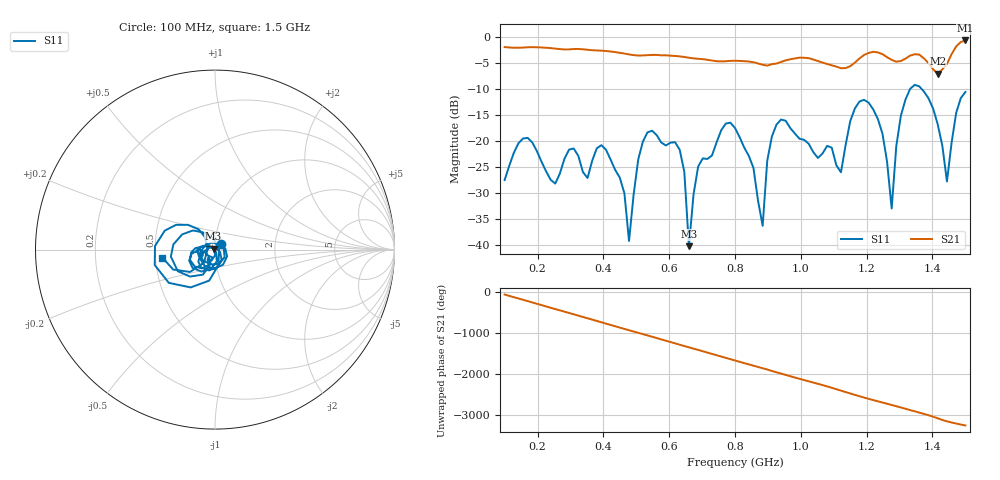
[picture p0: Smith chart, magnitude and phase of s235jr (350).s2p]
! NanoVNA-App
! Date: 2025-09-25 15:06:53
! Start: 100MHz Stop: 1,5GHz Points: 101
! S-Parameter data: F S11 S21 S12 S22
# Hz S RI R 50
!  Frequency  S11_Real  S11_Imag  S21_Real  S21_Imag  S12_Real  S12_Imag  S22_Real  S22_Imag
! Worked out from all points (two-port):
!   101 points, 100 MHz to 1.5 GHz, reference 50 ohm
!   highest |S21| = -0.69 dB at 1.5 GHz (marker M1); lowest = -7.1 dB at 1.416 GHz (marker M2)
!   |S21| within 3 dB of the highest: start of sweep to 622.6 MHz; 1.188 GHz to 1.257 GHz (69.28 MHz wide, 5.67 % of centre) (the widest 2 of 4)
!   lowest |S11| = -40.1 dB at 660 MHz (marker M3), VSWR 1.02, Z = 49.2 + j0.541 ohm
!   |S11| at or under -10 dB: start of sweep to 1.332 GHz; 1.367 GHz to end of sweep
!   S12 and S22 are empty: the file has one direction only
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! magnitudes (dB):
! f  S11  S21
! 100 MHz  -27.5  -2.0
! 170 MHz  -19.4  -2.0
! 338 MHz  -25.9  -2.4
! 408 MHz  -21.6  -2.7
! 478 MHz  -39.2  -3.4
! 520 MHz  -20.1  -3.6
! 576 MHz  -20.3  -3.5
! 632 MHz  -21.7  -3.7
! 660 MHz  -40.1  -4.0
! 688 MHz  -24.9  -4.2
! 800 MHz  -17.5  -4.6
! 884 MHz  -36.2  -5.4
! 926 MHz  -16.8  -5.1
! 1.038 GHz  -22.1  -4.3
! 1.122 GHz  -26.0  -6.0
! 1.206 GHz  -12.6  -3.1
! 1.276 GHz  -32.9  -4.4
! 1.304 GHz  -15.1  -4.6
! 1.332 GHz  -10.0  -3.6
! 1.416 GHz  -16.8  -7.1
! 1.444 GHz  -27.7  -5.2
! 1.5 GHz  -10.6  -0.7
